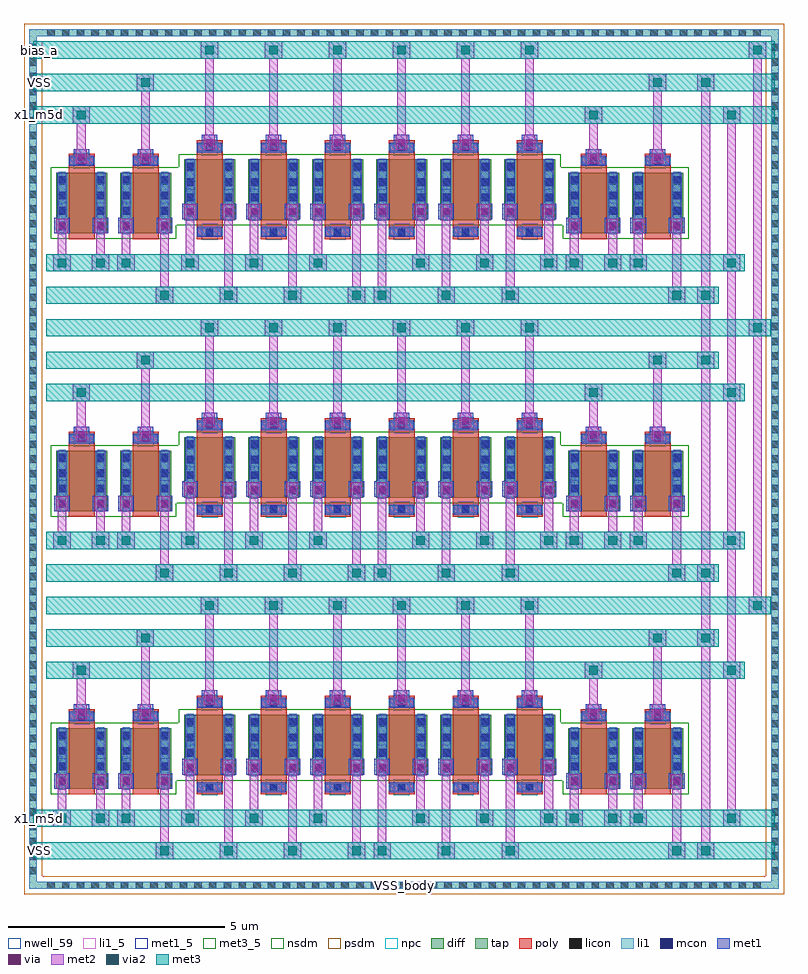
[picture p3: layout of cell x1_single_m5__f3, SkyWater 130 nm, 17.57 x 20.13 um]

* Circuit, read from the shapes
.subckt x1_single_m5__f3 VSS VSS_body bias_a x1_m5d
XM1 x1_m5d x1_m5d x1_m5d VSS_body sky130_fd_pr__nfet_01v8 w=1.4 l=0.6 m=6
XM2 VSS VSS x1_m5d VSS_body sky130_fd_pr__nfet_01v8 w=1.4 l=0.6 m=6
XM3 VSS bias_a x1_m5d VSS_body sky130_fd_pr__nfet_01v8 w=1.4 l=0.6 m=18
.ends

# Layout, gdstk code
from math import pi, radians
import gdstk
lib = gdstk.Library(unit=1e-6, precision=1e-09)
def R(c, l, rs):  # rectangles x0, y0, x1, y1
    for r in rs: c.add(gdstk.rectangle(r[:2], r[2:], *l))
def A(c, l, x, y, w, h, nx, ny, dx, dy):  # array of equal rectangles
    R(c, l, [(x+i*dx, y+j*dy, x+i*dx+w, y+j*dy+h) for i in range(nx) for j in range(ny)])
nwell_59 = (64, 59)
diff = (65, 20)
tap = (65, 44)
poly = (66, 20)
licon = (66, 44)
li1_5 = (67, 5)
li1 = (67, 20)
mcon = (67, 44)
met1_5 = (68, 5)
met1 = (68, 20)
via = (68, 44)
met2 = (69, 20)
via2 = (69, 44)
met3_5 = (70, 5)
met3 = (70, 20)
nsdm = (93, 44)
psdm = (94, 20)
npc = (95, 20)

sky130_fd_pr__nfet_01v8_ = lib.new_cell('sky130_fd_pr__nfet_01v8_KCM6UP')
R(sky130_fd_pr__nfet_01v8_, diff, [(-0.59,-0.7,0.59,0.7)])
R(sky130_fd_pr__nfet_01v8_, poly, [(-0.3,-1.14,0.3,1.14)])
A(sky130_fd_pr__nfet_01v8_, licon, -0.53, -0.595, 0.17, 0.17, 1, 4, 0, 0.34)
A(sky130_fd_pr__nfet_01v8_, licon, 0.36, -0.595, 0.17, 0.17, 1, 4, 0, 0.34)
R(sky130_fd_pr__nfet_01v8_, licon, [(-0.085,-1.06,0.085,-0.89), (-0.085,0.89,0.085,1.06)])
R(sky130_fd_pr__nfet_01v8_, li1, [(-0.3,-1.06,0.3,-0.89), (-0.53,-0.72,-0.36,0.72), (0.36,-0.72,0.53,0.72), (-0.3,0.89,0.3,1.06)])
A(sky130_fd_pr__nfet_01v8_, mcon, -0.53, -0.625, 0.17, 0.17, 1, 4, 0, 0.36)
A(sky130_fd_pr__nfet_01v8_, mcon, 0.36, -0.625, 0.17, 0.17, 1, 4, 0, 0.36)
R(sky130_fd_pr__nfet_01v8_, mcon, [(-0.085,-1.06,0.085,-0.89), (-0.085,0.89,0.085,1.06)])
R(sky130_fd_pr__nfet_01v8_, met1, [(-0.28,-1.09,0.28,-0.86), (-0.56,-0.7,-0.33,0.7), (0.33,-0.7,0.56,0.7), (-0.28,0.86,0.28,1.09)])
R(sky130_fd_pr__nfet_01v8_, nsdm, [(-0.715,-0.825,0.715,0.825)])
R(sky130_fd_pr__nfet_01v8_, npc, [(-0.185,-1.16,0.185,-0.79), (-0.185,0.79,0.185,1.16)])
sky130_fd_pr__nfet_01v8_.add(gdstk.Label('D', (-0.445,0), layer=67, texttype=5))
sky130_fd_pr__nfet_01v8_.add(gdstk.Label('S', (0.445,0), layer=67, texttype=5))
sky130_fd_pr__nfet_01v8_.add(gdstk.Label('G', (0,0.975), layer=67, texttype=5))

nfet_01v8_w1p4_l0p6_m18_ = lib.new_cell('nfet_01v8_W1p4_L0p6_m18__nf1_gboth_sdfull_ng')
R(nfet_01v8_w1p4_l0p6_m18_, nwell_59, [(0.05,1.09,0.15,1.19)])
R(nfet_01v8_w1p4_l0p6_m18_, met1_5, [(0.03,1.14,0.26,1.34), (0.92,1.14,1.15,1.34), (0.31,2,0.87,2.23)])
R(nfet_01v8_w1p4_l0p6_m18_, met1, [(0.03,1.14,0.26,1.34), (0.92,1.14,1.15,1.34), (0.31,2,0.87,2.23)])
nfet_01v8_w1p4_l0p6_m18_.add(gdstk.Reference(sky130_fd_pr__nfet_01v8_, (0.59,1.14)))
nfet_01v8_w1p4_l0p6_m18_.add(gdstk.Label('D', (0.145,1.24), layer=68, texttype=5))
nfet_01v8_w1p4_l0p6_m18_.add(gdstk.Label('S', (1.035,1.24), layer=68, texttype=5))
nfet_01v8_w1p4_l0p6_m18_.add(gdstk.Label('G', (0.59,2.115), layer=68, texttype=5))
nfet_01v8_w1p4_l0p6_m18_.add(gdstk.Label('B', (0.1,1.14), layer=64, texttype=59))

c_sky130_fd_pr__nfet_01v8_ = lib.new_cell('sky130_fd_pr__nfet_01v8_RUA5M6')
R(c_sky130_fd_pr__nfet_01v8_, diff, [(-0.59,-0.855,0.59,0.545)])
R(c_sky130_fd_pr__nfet_01v8_, poly, [(-0.3,-0.985,0.3,0.985)])
A(c_sky130_fd_pr__nfet_01v8_, licon, -0.53, -0.75, 0.17, 0.17, 1, 4, 0, 0.34)
A(c_sky130_fd_pr__nfet_01v8_, licon, 0.36, -0.75, 0.17, 0.17, 1, 4, 0, 0.34)
R(c_sky130_fd_pr__nfet_01v8_, licon, [(-0.085,0.735,0.085,0.905)])
R(c_sky130_fd_pr__nfet_01v8_, li1, [(-0.53,-0.875,-0.36,0.565), (0.36,-0.875,0.53,0.565), (-0.3,0.735,0.3,0.905)])
A(c_sky130_fd_pr__nfet_01v8_, mcon, -0.53, -0.78, 0.17, 0.17, 1, 4, 0, 0.36)
A(c_sky130_fd_pr__nfet_01v8_, mcon, 0.36, -0.78, 0.17, 0.17, 1, 4, 0, 0.36)
R(c_sky130_fd_pr__nfet_01v8_, mcon, [(-0.085,0.735,0.085,0.905)])
R(c_sky130_fd_pr__nfet_01v8_, met1, [(-0.56,-0.855,-0.33,0.545), (0.33,-0.855,0.56,0.545), (-0.28,0.705,0.28,0.935)])
R(c_sky130_fd_pr__nfet_01v8_, nsdm, [(-0.715,-0.98,0.715,0.67)])
R(c_sky130_fd_pr__nfet_01v8_, npc, [(-0.185,0.635,0.185,1.005)])
c_sky130_fd_pr__nfet_01v8_.add(gdstk.Label('D', (-0.445,-0.155), layer=67, texttype=5))
c_sky130_fd_pr__nfet_01v8_.add(gdstk.Label('S', (0.445,-0.155), layer=67, texttype=5))
c_sky130_fd_pr__nfet_01v8_.add(gdstk.Label('G', (0,0.82), layer=67, texttype=5))

nfet_01v8_w1p4_l0p6_m6__ = lib.new_cell('nfet_01v8_W1p4_L0p6_m6__nf1_gtop_sdfull_ng')
R(nfet_01v8_w1p4_l0p6_m6__, nwell_59, [(0.05,0.78,0.15,0.88)])
R(nfet_01v8_w1p4_l0p6_m6__, met1_5, [(0.03,0.83,0.26,1.03), (0.92,0.83,1.15,1.03), (0.31,1.69,0.87,1.92)])
R(nfet_01v8_w1p4_l0p6_m6__, met1, [(0.03,0.83,0.26,1.03), (0.92,0.83,1.15,1.03), (0.31,1.69,0.87,1.92)])
nfet_01v8_w1p4_l0p6_m6__.add(gdstk.Reference(c_sky130_fd_pr__nfet_01v8_, (0.59,0.985)))
nfet_01v8_w1p4_l0p6_m6__.add(gdstk.Label('D', (0.145,0.93), layer=68, texttype=5))
nfet_01v8_w1p4_l0p6_m6__.add(gdstk.Label('S', (1.035,0.93), layer=68, texttype=5))
nfet_01v8_w1p4_l0p6_m6__.add(gdstk.Label('G', (0.59,1.805), layer=68, texttype=5))
nfet_01v8_w1p4_l0p6_m6__.add(gdstk.Label('B', (0.1,0.83), layer=64, texttype=59))

x1_single_m5__f3 = lib.new_cell('x1_single_m5__f3')
R(x1_single_m5__f3, tap, [(-0.485,-2.185,16.835,-2.015), (-0.485,-2.015,-0.315,17.525), (16.665,-2.015,16.835,17.525), (-0.485,17.525,16.835,17.695)])
A(x1_single_m5__f3, licon, -0.07, -2.185, 0.17, 0.17, 49, 2, 0.34, 19.71)
A(x1_single_m5__f3, licon, -0.485, -1.85, 0.17, 0.17, 1, 57, 0, 0.34)
A(x1_single_m5__f3, licon, 16.665, -1.85, 0.17, 0.17, 1, 57, 0, 0.34)
R(x1_single_m5__f3, li1_5, [(8.125,-2.15,8.225,-2.05)])
R(x1_single_m5__f3, li1, [(-0.485,-2.185,16.835,-2.015), (-0.485,-2.015,-0.315,17.525), (16.665,-2.015,16.835,17.525), (-0.485,17.525,16.835,17.695)])
A(x1_single_m5__f3, met1, 0.09, 0.13, 0.36, 0.36, 1, 3, 0, 6.42)
A(x1_single_m5__f3, met1, 0.98, 0.13, 0.36, 0.36, 1, 3, 0, 6.42)
A(x1_single_m5__f3, met1, 1.57, 0.13, 0.36, 0.36, 1, 3, 0, 6.42)
A(x1_single_m5__f3, met1, 2.46, 0.13, 0.36, 0.36, 1, 3, 0, 6.42)
A(x1_single_m5__f3, met1, 11.93, 0.13, 0.36, 0.36, 1, 3, 0, 6.42)
A(x1_single_m5__f3, met1, 12.82, 0.13, 0.36, 0.36, 1, 3, 0, 6.42)
A(x1_single_m5__f3, met1, 13.41, 0.13, 0.36, 0.36, 1, 3, 0, 6.42)
A(x1_single_m5__f3, met1, 14.3, 0.13, 0.36, 0.36, 1, 3, 0, 6.42)
A(x1_single_m5__f3, met1, 3.05, 0.46, 0.36, 0.36, 1, 3, 0, 6.42)
A(x1_single_m5__f3, met1, 3.94, 0.46, 0.36, 0.36, 1, 3, 0, 6.42)
A(x1_single_m5__f3, met1, 4.53, 0.46, 0.36, 0.36, 1, 3, 0, 6.42)
A(x1_single_m5__f3, met1, 5.42, 0.46, 0.36, 0.36, 1, 3, 0, 6.42)
A(x1_single_m5__f3, met1, 6.01, 0.46, 0.36, 0.36, 1, 3, 0, 6.42)
A(x1_single_m5__f3, met1, 6.9, 0.46, 0.36, 0.36, 1, 3, 0, 6.42)
A(x1_single_m5__f3, met1, 7.49, 0.46, 0.36, 0.36, 1, 3, 0, 6.42)
A(x1_single_m5__f3, met1, 8.38, 0.46, 0.36, 0.36, 1, 3, 0, 6.42)
A(x1_single_m5__f3, met1, 8.97, 0.46, 0.36, 0.36, 1, 3, 0, 6.42)
A(x1_single_m5__f3, met1, 9.86, 0.46, 0.36, 0.36, 1, 3, 0, 6.42)
A(x1_single_m5__f3, met1, 10.45, 0.46, 0.36, 0.36, 1, 3, 0, 6.42)
A(x1_single_m5__f3, met1, 11.34, 0.46, 0.36, 0.36, 1, 3, 0, 6.42)
A(x1_single_m5__f3, met1, 0.535, 1.72, 0.36, 0.36, 1, 3, 0, 6.42)
A(x1_single_m5__f3, met1, 2.015, 1.72, 0.36, 0.36, 1, 3, 0, 6.42)
A(x1_single_m5__f3, met1, 12.375, 1.72, 0.36, 0.36, 1, 3, 0, 6.42)
A(x1_single_m5__f3, met1, 13.855, 1.72, 0.36, 0.36, 1, 3, 0, 6.42)
A(x1_single_m5__f3, met1, 3.495, 2.05, 0.36, 0.36, 6, 3, 1.48, 6.42)
A(x1_single_m5__f3, via, 0.195, 0.235, 0.15, 0.15, 1, 3, 0, 6.42)
A(x1_single_m5__f3, via, 1.085, 0.235, 0.15, 0.15, 1, 3, 0, 6.42)
A(x1_single_m5__f3, via, 1.675, 0.235, 0.15, 0.15, 1, 3, 0, 6.42)
A(x1_single_m5__f3, via, 2.565, 0.235, 0.15, 0.15, 1, 3, 0, 6.42)
A(x1_single_m5__f3, via, 12.035, 0.235, 0.15, 0.15, 1, 3, 0, 6.42)
A(x1_single_m5__f3, via, 12.925, 0.235, 0.15, 0.15, 1, 3, 0, 6.42)
A(x1_single_m5__f3, via, 13.515, 0.235, 0.15, 0.15, 1, 3, 0, 6.42)
A(x1_single_m5__f3, via, 14.405, 0.235, 0.15, 0.15, 1, 3, 0, 6.42)
A(x1_single_m5__f3, via, 3.155, 0.565, 0.15, 0.15, 1, 3, 0, 6.42)
A(x1_single_m5__f3, via, 4.045, 0.565, 0.15, 0.15, 1, 3, 0, 6.42)
A(x1_single_m5__f3, via, 4.635, 0.565, 0.15, 0.15, 1, 3, 0, 6.42)
A(x1_single_m5__f3, via, 5.525, 0.565, 0.15, 0.15, 1, 3, 0, 6.42)
A(x1_single_m5__f3, via, 6.115, 0.565, 0.15, 0.15, 1, 3, 0, 6.42)
A(x1_single_m5__f3, via, 7.005, 0.565, 0.15, 0.15, 1, 3, 0, 6.42)
A(x1_single_m5__f3, via, 7.595, 0.565, 0.15, 0.15, 1, 3, 0, 6.42)
A(x1_single_m5__f3, via, 8.485, 0.565, 0.15, 0.15, 1, 3, 0, 6.42)
A(x1_single_m5__f3, via, 9.075, 0.565, 0.15, 0.15, 1, 3, 0, 6.42)
A(x1_single_m5__f3, via, 9.965, 0.565, 0.15, 0.15, 1, 3, 0, 6.42)
A(x1_single_m5__f3, via, 10.555, 0.565, 0.15, 0.15, 1, 3, 0, 6.42)
A(x1_single_m5__f3, via, 11.445, 0.565, 0.15, 0.15, 1, 3, 0, 6.42)
A(x1_single_m5__f3, via, 0.64, 1.825, 0.15, 0.15, 1, 3, 0, 6.42)
A(x1_single_m5__f3, via, 2.12, 1.825, 0.15, 0.15, 1, 3, 0, 6.42)
A(x1_single_m5__f3, via, 12.48, 1.825, 0.15, 0.15, 1, 3, 0, 6.42)
A(x1_single_m5__f3, via, 13.96, 1.825, 0.15, 0.15, 1, 3, 0, 6.42)
A(x1_single_m5__f3, via, 3.6, 2.155, 0.15, 0.15, 6, 3, 1.48, 6.42)
A(x1_single_m5__f3, met2, 2.44, -1.5, 0.4, 0.4, 4, 3, 1.48, 6.42)
A(x1_single_m5__f3, met2, 7.47, -1.5, 0.4, 0.4, 3, 3, 1.48, 6.42)
A(x1_single_m5__f3, met2, 14.28, -1.5, 0.4, 0.4, 1, 3, 0, 6.42)
A(x1_single_m5__f3, met2, 2.54, -1.1, 0.2, 1.25, 1, 3, 0, 6.42)
A(x1_single_m5__f3, met2, 4.02, -1.1, 0.2, 1.58, 3, 3, 1.48, 6.42)
A(x1_single_m5__f3, met2, 7.57, -1.1, 0.2, 1.58, 3, 3, 1.48, 6.42)
A(x1_single_m5__f3, met2, 14.38, -1.1, 0.2, 1.25, 1, 3, 0, 6.42)
A(x1_single_m5__f3, met2, 15.05, -1.1, 0.2, 4.52, 1, 3, 0, 6.42)
A(x1_single_m5__f3, met2, 0.07, -0.75, 0.4, 0.4, 1, 3, 0, 6.42)
A(x1_single_m5__f3, met2, 0.96, -0.75, 0.4, 0.4, 1, 3, 0, 6.42)
A(x1_single_m5__f3, met2, 1.55, -0.75, 0.4, 0.4, 4, 3, 1.48, 6.42)
A(x1_single_m5__f3, met2, 8.36, -0.75, 0.4, 0.4, 3, 3, 1.48, 6.42)
A(x1_single_m5__f3, met2, 11.91, -0.75, 0.4, 0.4, 1, 3, 0, 6.42)
A(x1_single_m5__f3, met2, 12.8, -0.75, 0.4, 0.4, 1, 3, 0, 6.42)
A(x1_single_m5__f3, met2, 13.39, -0.75, 0.4, 0.4, 1, 3, 0, 6.42)
A(x1_single_m5__f3, met2, 0.17, -0.35, 0.2, 0.5, 1, 3, 0, 6.42)
A(x1_single_m5__f3, met2, 1.06, -0.35, 0.2, 0.5, 1, 3, 0, 6.42)
A(x1_single_m5__f3, met2, 1.65, -0.35, 0.2, 0.5, 1, 3, 0, 6.42)
A(x1_single_m5__f3, met2, 3.13, -0.35, 0.2, 0.83, 3, 3, 1.48, 6.42)
A(x1_single_m5__f3, met2, 8.46, -0.35, 0.2, 0.83, 3, 3, 1.48, 6.42)
A(x1_single_m5__f3, met2, 12.01, -0.35, 0.2, 0.5, 1, 3, 0, 6.42)
A(x1_single_m5__f3, met2, 12.9, -0.35, 0.2, 0.5, 1, 3, 0, 6.42)
A(x1_single_m5__f3, met2, 13.49, -0.35, 0.2, 0.5, 1, 3, 0, 6.42)
A(x1_single_m5__f3, met2, 15.65, -0.35, 0.2, 3.02, 1, 3, 0, 6.42)
A(x1_single_m5__f3, met2, 0.14, 0.15, 0.26, 0.32, 1, 3, 0, 6.42)
A(x1_single_m5__f3, met2, 1.03, 0.15, 0.26, 0.32, 1, 3, 0, 6.42)
A(x1_single_m5__f3, met2, 1.62, 0.15, 0.26, 0.32, 1, 3, 0, 6.42)
A(x1_single_m5__f3, met2, 2.51, 0.15, 0.26, 0.32, 1, 3, 0, 6.42)
A(x1_single_m5__f3, met2, 11.98, 0.15, 0.26, 0.32, 1, 3, 0, 6.42)
A(x1_single_m5__f3, met2, 12.87, 0.15, 0.26, 0.32, 1, 3, 0, 6.42)
A(x1_single_m5__f3, met2, 13.46, 0.15, 0.26, 0.32, 1, 3, 0, 6.42)
A(x1_single_m5__f3, met2, 14.35, 0.15, 0.26, 0.32, 1, 3, 0, 6.42)
A(x1_single_m5__f3, met2, 3.1, 0.48, 0.26, 0.32, 1, 3, 0, 6.42)
A(x1_single_m5__f3, met2, 3.99, 0.48, 0.26, 0.32, 1, 3, 0, 6.42)
A(x1_single_m5__f3, met2, 4.58, 0.48, 0.26, 0.32, 1, 3, 0, 6.42)
A(x1_single_m5__f3, met2, 5.47, 0.48, 0.26, 0.32, 1, 3, 0, 6.42)
A(x1_single_m5__f3, met2, 6.06, 0.48, 0.26, 0.32, 1, 3, 0, 6.42)
A(x1_single_m5__f3, met2, 6.95, 0.48, 0.26, 0.32, 1, 3, 0, 6.42)
A(x1_single_m5__f3, met2, 7.54, 0.48, 0.26, 0.32, 1, 3, 0, 6.42)
A(x1_single_m5__f3, met2, 8.43, 0.48, 0.26, 0.32, 1, 3, 0, 6.42)
A(x1_single_m5__f3, met2, 9.02, 0.48, 0.26, 0.32, 1, 3, 0, 6.42)
A(x1_single_m5__f3, met2, 9.91, 0.48, 0.26, 0.32, 1, 3, 0, 6.42)
A(x1_single_m5__f3, met2, 10.5, 0.48, 0.26, 0.32, 1, 3, 0, 6.42)
A(x1_single_m5__f3, met2, 11.39, 0.48, 0.26, 0.32, 1, 3, 0, 6.42)
A(x1_single_m5__f3, met2, 0.585, 1.74, 0.26, 0.32, 1, 3, 0, 6.42)
A(x1_single_m5__f3, met2, 2.065, 1.74, 0.26, 0.32, 1, 3, 0, 6.42)
A(x1_single_m5__f3, met2, 12.425, 1.74, 0.26, 0.32, 1, 3, 0, 6.42)
A(x1_single_m5__f3, met2, 13.905, 1.74, 0.26, 0.32, 1, 3, 0, 6.42)
A(x1_single_m5__f3, met2, 0.615, 2.06, 0.2, 0.61, 1, 3, 0, 6.42)
A(x1_single_m5__f3, met2, 2.095, 2.06, 0.2, 1.36, 1, 3, 0, 6.42)
A(x1_single_m5__f3, met2, 12.455, 2.06, 0.2, 0.61, 1, 3, 0, 6.42)
A(x1_single_m5__f3, met2, 13.935, 2.06, 0.2, 1.36, 1, 3, 0, 6.42)
A(x1_single_m5__f3, met2, 3.545, 2.07, 0.26, 0.32, 6, 3, 1.48, 6.42)
A(x1_single_m5__f3, met2, 3.575, 2.39, 0.2, 1.78, 6, 3, 1.48, 6.42)
A(x1_single_m5__f3, met2, 0.515, 2.67, 0.4, 0.4, 1, 3, 0, 6.42)
A(x1_single_m5__f3, met2, 12.355, 2.67, 0.4, 0.4, 1, 3, 0, 6.42)
A(x1_single_m5__f3, met2, 1.995, 3.42, 0.4, 0.4, 1, 3, 0, 6.42)
A(x1_single_m5__f3, met2, 13.835, 3.42, 0.4, 0.4, 1, 3, 0, 6.42)
A(x1_single_m5__f3, met2, 3.475, 4.17, 0.4, 0.4, 6, 3, 1.48, 6.42)
A(x1_single_m5__f3, met2, 16.15, 4.17, 0.4, 0.4, 1, 3, 0, 6.42)
R(x1_single_m5__f3, met2, [(14.95,-1.5,15.35,-1.1), (15.55,-0.75,15.95,-0.35), (15.55,2.67,15.95,3.07), (15.65,3.07,15.85,5.67), (14.95,3.42,15.35,3.82), (15.05,3.82,15.25,4.92), (16.25,4.57,16.45,10.59), (14.95,4.92,15.35,5.32), (15.55,5.67,15.95,6.07), (15.55,9.09,15.95,9.49), (15.65,9.49,15.85,12.09), (14.95,9.84,15.35,10.24), (15.05,10.24,15.25,11.34), (16.25,10.99,16.45,17.01), (14.95,11.34,15.35,11.74), (15.55,12.09,15.95,12.49), (15.55,15.51,15.95,15.91), (14.95,16.26,15.35,16.66)])
A(x1_single_m5__f3, via2, 2.54, -1.4, 0.2, 0.2, 4, 3, 1.48, 6.42)
A(x1_single_m5__f3, via2, 7.57, -1.4, 0.2, 0.2, 3, 3, 1.48, 6.42)
A(x1_single_m5__f3, via2, 14.38, -1.4, 0.2, 0.2, 1, 3, 0, 6.42)
A(x1_single_m5__f3, via2, 0.17, -0.65, 0.2, 0.2, 1, 3, 0, 6.42)
A(x1_single_m5__f3, via2, 1.06, -0.65, 0.2, 0.2, 1, 3, 0, 6.42)
A(x1_single_m5__f3, via2, 1.65, -0.65, 0.2, 0.2, 4, 3, 1.48, 6.42)
A(x1_single_m5__f3, via2, 8.46, -0.65, 0.2, 0.2, 3, 3, 1.48, 6.42)
A(x1_single_m5__f3, via2, 12.01, -0.65, 0.2, 0.2, 1, 3, 0, 6.42)
A(x1_single_m5__f3, via2, 12.9, -0.65, 0.2, 0.2, 1, 3, 0, 6.42)
A(x1_single_m5__f3, via2, 13.49, -0.65, 0.2, 0.2, 1, 3, 0, 6.42)
A(x1_single_m5__f3, via2, 0.615, 2.77, 0.2, 0.2, 1, 3, 0, 6.42)
A(x1_single_m5__f3, via2, 12.455, 2.77, 0.2, 0.2, 1, 3, 0, 6.42)
A(x1_single_m5__f3, via2, 2.095, 3.52, 0.2, 0.2, 1, 3, 0, 6.42)
A(x1_single_m5__f3, via2, 13.935, 3.52, 0.2, 0.2, 1, 3, 0, 6.42)
A(x1_single_m5__f3, via2, 3.575, 4.27, 0.2, 0.2, 6, 3, 1.48, 6.42)
A(x1_single_m5__f3, via2, 16.25, 4.27, 0.2, 0.2, 1, 3, 0, 6.42)
R(x1_single_m5__f3, via2, [(15.05,-1.4,15.25,-1.2), (15.65,-0.65,15.85,-0.45), (15.65,2.77,15.85,2.97), (15.05,3.52,15.25,3.72), (15.05,5.02,15.25,5.22), (15.65,5.77,15.85,5.97), (15.65,9.19,15.85,9.39), (15.05,9.94,15.25,10.14), (15.05,11.44,15.25,11.64), (15.65,12.19,15.85,12.39), (15.65,15.61,15.85,15.81), (15.05,16.36,15.25,16.56)])
A(x1_single_m5__f3, met3_5, -0.3, 15.66, 0.1, 0.1, 1, 3, 0, 0.75)
R(x1_single_m5__f3, met3_5, [(-0.3,-1.35,-0.2,-1.25), (-0.3,-0.6,-0.2,-0.5)])
A(x1_single_m5__f3, met3, -0.4, 15.51, 17.15, 0.4, 1, 3, 0, 0.75)
R(x1_single_m5__f3, met3, [(-0.4,-1.5,16.75,-1.1), (-0.4,-0.75,16.75,-0.35), (-0.1,2.67,16.05,3.07), (-0.1,3.42,15.45,3.82), (-0.1,4.17,16.65,4.57), (-0.1,4.92,15.45,5.32), (-0.1,5.67,16.05,6.07), (-0.1,9.09,16.05,9.49), (-0.1,9.84,15.45,10.24), (-0.1,10.59,16.65,10.99), (-0.1,11.34,15.45,11.74), (-0.1,12.09,16.05,12.49)])
A(x1_single_m5__f3, nsdm, 1.435, 0.005, 0.05, 1.65, 1, 3, 0, 6.42)
A(x1_single_m5__f3, nsdm, 13.275, 0.005, 0.05, 1.65, 1, 3, 0, 6.42)
A(x1_single_m5__f3, nsdm, 2.915, 0.315, 0.05, 1.34, 1, 3, 0, 6.42)
A(x1_single_m5__f3, nsdm, 4.395, 0.315, 0.05, 1.65, 5, 3, 1.48, 6.42)
A(x1_single_m5__f3, nsdm, 11.795, 0.315, 0.05, 1.34, 1, 3, 0, 6.42)
R(x1_single_m5__f3, psdm, [(-0.61,-2.31,16.96,-1.89), (-0.61,-1.89,-0.19,17.4), (16.54,-1.89,16.96,17.4), (-0.61,17.4,16.96,17.82)])
x1_single_m5__f3.add(gdstk.Reference(nfet_01v8_w1p4_l0p6_m18_, (11.67,12.84), rotation=pi, x_reflection=True))
x1_single_m5__f3.add(gdstk.Reference(nfet_01v8_w1p4_l0p6_m18_, (10.19,12.84), rotation=pi, x_reflection=True))
x1_single_m5__f3.add(gdstk.Reference(nfet_01v8_w1p4_l0p6_m18_, (8.71,12.84), rotation=pi, x_reflection=True))
x1_single_m5__f3.add(gdstk.Reference(nfet_01v8_w1p4_l0p6_m18_, (6.05,12.84)))
x1_single_m5__f3.add(gdstk.Reference(nfet_01v8_w1p4_l0p6_m18_, (4.57,12.84)))
x1_single_m5__f3.add(gdstk.Reference(nfet_01v8_w1p4_l0p6_m18_, (3.09,12.84)))
x1_single_m5__f3.add(gdstk.Reference(nfet_01v8_w1p4_l0p6_m18_, (11.67,6.42), rotation=pi, x_reflection=True))
x1_single_m5__f3.add(gdstk.Reference(nfet_01v8_w1p4_l0p6_m18_, (10.19,6.42), rotation=pi, x_reflection=True))
x1_single_m5__f3.add(gdstk.Reference(nfet_01v8_w1p4_l0p6_m18_, (8.71,6.42), rotation=pi, x_reflection=True))
x1_single_m5__f3.add(gdstk.Reference(nfet_01v8_w1p4_l0p6_m18_, (6.05,6.42)))
x1_single_m5__f3.add(gdstk.Reference(nfet_01v8_w1p4_l0p6_m18_, (4.57,6.42)))
x1_single_m5__f3.add(gdstk.Reference(nfet_01v8_w1p4_l0p6_m18_, (3.09,6.42)))
x1_single_m5__f3.add(gdstk.Reference(nfet_01v8_w1p4_l0p6_m18_, (11.67,0), rotation=pi, x_reflection=True))
x1_single_m5__f3.add(gdstk.Reference(nfet_01v8_w1p4_l0p6_m18_, (10.19,0), rotation=pi, x_reflection=True))
x1_single_m5__f3.add(gdstk.Reference(nfet_01v8_w1p4_l0p6_m18_, (8.71,0), rotation=pi, x_reflection=True))
x1_single_m5__f3.add(gdstk.Reference(nfet_01v8_w1p4_l0p6_m18_, (6.05,0)))
x1_single_m5__f3.add(gdstk.Reference(nfet_01v8_w1p4_l0p6_m18_, (4.57,0)))
x1_single_m5__f3.add(gdstk.Reference(nfet_01v8_w1p4_l0p6_m18_, (3.09,0)))
x1_single_m5__f3.add(gdstk.Reference(nfet_01v8_w1p4_l0p6_m6__, (0.13,0)))
x1_single_m5__f3.add(gdstk.Reference(nfet_01v8_w1p4_l0p6_m6__, (1.61,0)))
x1_single_m5__f3.add(gdstk.Reference(nfet_01v8_w1p4_l0p6_m6__, (11.97,0)))
x1_single_m5__f3.add(gdstk.Reference(nfet_01v8_w1p4_l0p6_m6__, (13.45,0)))
x1_single_m5__f3.add(gdstk.Reference(nfet_01v8_w1p4_l0p6_m6__, (0.13,6.42)))
x1_single_m5__f3.add(gdstk.Reference(nfet_01v8_w1p4_l0p6_m6__, (1.61,6.42)))
x1_single_m5__f3.add(gdstk.Reference(nfet_01v8_w1p4_l0p6_m6__, (11.97,6.42)))
x1_single_m5__f3.add(gdstk.Reference(nfet_01v8_w1p4_l0p6_m6__, (13.45,6.42)))
x1_single_m5__f3.add(gdstk.Reference(nfet_01v8_w1p4_l0p6_m6__, (0.13,12.84)))
x1_single_m5__f3.add(gdstk.Reference(nfet_01v8_w1p4_l0p6_m6__, (1.61,12.84)))
x1_single_m5__f3.add(gdstk.Reference(nfet_01v8_w1p4_l0p6_m6__, (11.97,12.84)))
x1_single_m5__f3.add(gdstk.Reference(nfet_01v8_w1p4_l0p6_m6__, (13.45,12.84)))
x1_single_m5__f3.add(gdstk.Label('x1_m5d', (-0.25,15.71), layer=70, texttype=5))
x1_single_m5__f3.add(gdstk.Label('VSS', (-0.25,16.46), layer=70, texttype=5))
x1_single_m5__f3.add(gdstk.Label('bias_a', (-0.25,17.21), layer=70, texttype=5))
x1_single_m5__f3.add(gdstk.Label('x1_m5d', (-0.25,-0.55), layer=70, texttype=5))
x1_single_m5__f3.add(gdstk.Label('VSS', (-0.25,-1.3), layer=70, texttype=5))
x1_single_m5__f3.add(gdstk.Label('VSS_body', (8.175,-2.1), layer=67, texttype=5))

lib.write_gds('x1_single_m5__f3.gds')
